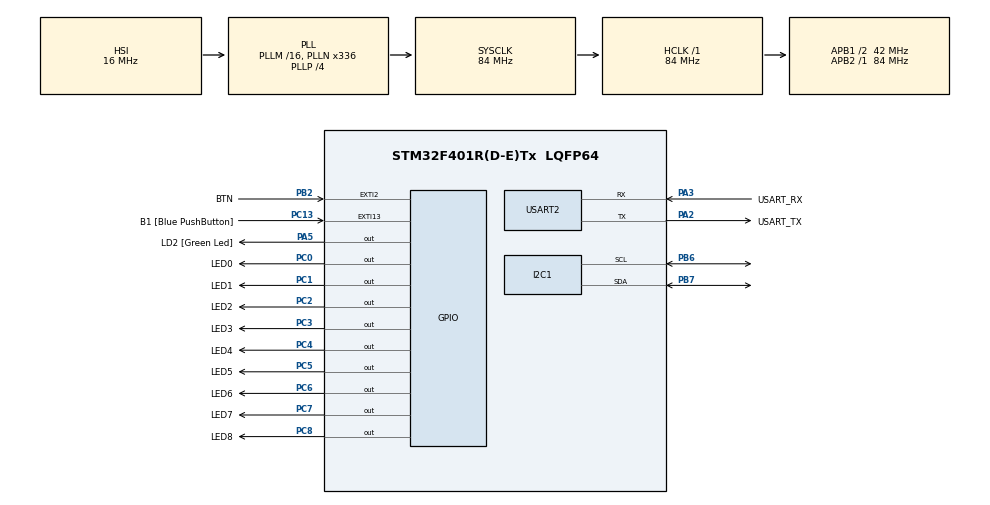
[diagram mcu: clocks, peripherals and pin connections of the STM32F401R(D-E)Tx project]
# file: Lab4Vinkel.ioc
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Mcu.Family=STM32F4
Mcu.Name=STM32F401R(D-E)Tx
Mcu.Package=LQFP64
NVIC.EXTI2_IRQn=true\:0\:0\:false\:false\:true\:true
NVIC.PriorityGroup=NVIC_PRIORITYGROUP_0
PA13.GPIO_Label=TMS
PA13.Mode=Serial_Wire
PA13.Signal=SYS_JTMS-SWDIO
PA14.GPIO_Label=TCK
PA14.Mode=Serial_Wire
PA14.Signal=SYS_JTCK-SWCLK
PA2.GPIO_Label=USART_TX
PA2.GPIO_Mode=GPIO_MODE_AF_PP
PA2.GPIO_PuPd=GPIO_NOPULL
PA2.GPIO_Speed=GPIO_SPEED_FREQ_LOW
PA2.Mode=Asynchronous
PA2.Signal=USART2_TX
PA3.GPIO_Label=USART_RX
PA3.GPIO_Mode=GPIO_MODE_AF_PP
PA3.GPIO_PuPd=GPIO_NOPULL
PA3.GPIO_Speed=GPIO_SPEED_FREQ_LOW
PA3.Mode=Asynchronous
PA3.Signal=USART2_RX
PA5.GPIO_Label=LD2 [Green Led]
PA5.GPIO_Mode=GPIO_MODE_OUTPUT_PP
PA5.GPIO_PuPd=GPIO_NOPULL
PA5.GPIO_Speed=GPIO_SPEED_FREQ_LOW
PA5.Signal=GPIO_Output
PB2.GPIO_Label=BTN
PB2.Signal=GPXTI2
PB3.GPIO_Label=SWO
PB3.Signal=SYS_JTDO-SWO
PB6.Mode=I2C
PB6.Signal=I2C1_SCL
PB7.Mode=I2C
PB7.Signal=I2C1_SDA
PC0.GPIO_Label=LED0
PC0.Signal=GPIO_Output
PC1.GPIO_Label=LED1
PC1.Signal=GPIO_Output
PC13-ANTI_TAMP.GPIO_Label=B1 [Blue PushButton]
PC13-ANTI_TAMP.GPIO_ModeDefaultEXTI=GPIO_MODE_IT_FALLING
PC13-ANTI_TAMP.GPIO_PuPd=GPIO_NOPULL
PC13-ANTI_TAMP.Signal=GPXTI13
PC14-OSC32_IN.Mode=LSE-External-Oscillator
PC14-OSC32_IN.Signal=RCC_OSC32_IN
PC15-OSC32_OUT.Mode=LSE-External-Oscillator
PC15-OSC32_OUT.Signal=RCC_OSC32_OUT
PC2.GPIO_Label=LED2
PC2.Signal=GPIO_Output
PC3.GPIO_Label=LED3
PC3.Signal=GPIO_Output
PC4.GPIO_Label=LED4
PC4.Signal=GPIO_Output
PC5.GPIO_Label=LED5
PC5.Signal=GPIO_Output
PC6.GPIO_Label=LED6
PC6.Signal=GPIO_Output
PC7.GPIO_Label=LED7
PC7.Signal=GPIO_Output
PC8.GPIO_Label=LED8
PC8.Signal=GPIO_Output
PH0\ -\ OSC_IN.Mode=HSE-External-Clock-Source
PH0\ -\ OSC_IN.Signal=RCC_OSC_IN
PH1\ -\ OSC_OUT.Mode=HSE-External-Clock-Source
PH1\ -\ OSC_OUT.Signal=RCC_OSC_OUT
ProjectManager.HeapSize=0x200
ProjectManager.StackSize=0x400
ProjectManager.TargetToolchain=TrueSTUDIO
RCC.48MHZClocksFreq_Value=48000000
RCC.AHBFreq_Value=84000000
RCC.APB1CLKDivider=RCC_HCLK_DIV2
RCC.APB1Freq_Value=42000000
RCC.APB1TimFreq_Value=84000000
RCC.APB2Freq_Value=84000000
RCC.APB2TimFreq_Value=84000000
RCC.CortexFreq_Value=84000000
RCC.HCLKFreq_Value=84000000
RCC.HSE_VALUE=8000000
RCC.HSI_VALUE=16000000
RCC.PLLN=336
RCC.PLLP=RCC_PLLP_DIV4
RCC.PLLQ=7
RCC.SYSCLKFreq_VALUE=84000000
RCC.SYSCLKSource=RCC_SYSCLKSOURCE_PLLCLK
RCC.VCOOutputFreq_Value=336000000
USART2.VirtualMode=VM_ASYNC
board=NUCLEO-F401RE

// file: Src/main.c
/**
  ******************************************************************************
  * @file           : main.c
  * @brief          : Main program body
  ******************************************************************************
  ** This notice applies to any and all portions of this file
  * that are not between comment pairs USER CODE BEGIN and
  * USER CODE END. Other portions of this file, whether
  * inserted by the user or by software development tools
  * are owned by their respective copyright owners.
  *
  * COPYRIGHT(c) 2018 STMicroelectronics
  *
  * Redistribution and use in source and binary forms, with or without modification,
  * are permitted provided that the following conditions are met:
  *   1. Redistributions of source code must retain the above copyright notice,
  *      this list of conditions and the following disclaimer.
  *   2. Redistributions in binary form must reproduce the above copyright notice,
  *      this list of conditions and the following disclaimer in the documentation
  *      and/or other materials provided with the distribution.
  *   3. Neither the name of STMicroelectronics nor the names of its contributors
  *      may be used to endorse or promote products derived from this software
  *      without specific prior written permission.
  *
  * THIS SOFTWARE IS PROVIDED BY THE COPYRIGHT HOLDERS AND CONTRIBUTORS "AS IS"
  * AND ANY EXPRESS OR IMPLIED WARRANTIES, INCLUDING, BUT NOT LIMITED TO, THE
  * IMPLIED WARRANTIES OF MERCHANTABILITY AND FITNESS FOR A PARTICULAR PURPOSE ARE
  * DISCLAIMED. IN NO EVENT SHALL THE COPYRIGHT HOLDER OR CONTRIBUTORS BE LIABLE
  * FOR ANY DIRECT, INDIRECT, INCIDENTAL, SPECIAL, EXEMPLARY, OR CONSEQUENTIAL
  * DAMAGES (INCLUDING, BUT NOT LIMITED TO, PROCUREMENT OF SUBSTITUTE GOODS OR
  * SERVICES; LOSS OF USE, DATA, OR PROFITS; OR BUSINESS INTERRUPTION) HOWEVER
  * CAUSED AND ON ANY THEORY OF LIABILITY, WHETHER IN CONTRACT, STRICT LIABILITY,
  * OR TORT (INCLUDING NEGLIGENCE OR OTHERWISE) ARISING IN ANY WAY OUT OF THE USE
  * OF THIS SOFTWARE, EVEN IF ADVISED OF THE POSSIBILITY OF SUCH DAMAGE.
  *
  ******************************************************************************
  */
#include "main.h"
#include "stm32f4xx_hal.h"
#include <math.h>

I2C_HandleTypeDef hi2c1;

UART_HandleTypeDef huart2;

/* USER CODE BEGIN PV */
/* Private variables ---------------------------------------------------------*/

#define device_adress	0x53<<1
#define init 0x2D
#define xOff 0x1E
#define yOff 0x1F
#define xData 0x32
#define yData 0x34
#define range 0x31

uint8_t data_rec[6];
uint8_t printData[40];

/* USER CODE END PV */

void SystemClock_Config(void);
static void MX_GPIO_Init(void);
static void MX_USART2_UART_Init(void);
static void MX_I2C1_Init(void);

/* USER CODE BEGIN PFP */
/* Private function prototypes -----------------------------------------------*/

void adxl_write(uint8_t reg, uint8_t value){
	uint8_t data[2];
	data[0] = reg;
	data[1] = value;
	HAL_I2C_Master_Transmit(&hi2c1, device_adress, data, 2, 10);
}

void adxl_read(uint8_t reg, uint8_t numofbytes){
	HAL_I2C_Mem_Read(&hi2c1, device_adress, reg, 1,data_rec, numofbytes, 100);
}

void adxl_init(){
	uint16_t varde;

	adxl_write(init, 8);

	adxl_read(xData, 2);
	varde = ((*data_rec)) / ((*data_rec)+1);
	adxl_write(xOff , varde);

	adxl_read(yData, 2);
	varde = ((*data_rec)) / ((*data_rec)+1);
	adxl_write(yOff , varde);

}

void adxl_reset_offset(){
	uint16_t varde;
	adxl_read(xData, 2);
	varde = ((*data_rec)) / ((*data_rec)+1);
	adxl_write(xOff , varde);

	adxl_read(yData, 2);
	varde = ((*data_rec)) / ((*data_rec)+1);
	adxl_write(yOff , varde);
}

/* USER CODE END PFP */

int main(void)
{

  /* MCU Configuration----------------------------------------------------------*/

  /* Reset of all peripherals, Initializes the Flash interface and the Systick. */
  HAL_Init();

  /* Configure the system clock */
  SystemClock_Config();

  /* Initialize all configured peripherals */
  MX_GPIO_Init();
  MX_USART2_UART_Init();
  MX_I2C1_Init();

  /* Infinite loop */
  /* USER CODE BEGIN WHILE */

  //init

  adxl_init();

  uint16_t varde;
  uint8_t offset;
  uint16_t xPoint, yPoint;
  uint8_t xRem = 0;
  uint8_t yRem = 0;
  HAL_GPIO_TogglePin(GPIOC, LED4_Pin);

  while (1)
  {

  /* USER CODE END WHILE */

  /* USER CODE BEGIN 3 */

	  adxl_read(xData, 2);
	  varde = ((*data_rec)) + ((*data_rec)+1 >> 8);

	  adxl_read(xOff, 1);
	  offset = (*data_rec);

	  xPoint = varde - offset;

	  adxl_read(yData, 2);
	  varde = ((*data_rec)) + ((*data_rec)+1 >> 8);

	  adxl_read(yOff, 1);
	  offset = (*data_rec);

	  yPoint = varde - offset;

	  double xAngle = atan( (0,75 * sin(xPoint)) / (0.75 * cos(yPoint)));
	  double yAngle = atan( (0,75 * cos(yPoint)) / (0.75 * sin(xPoint)));

	  sprintf(printData, "X: %d, Y: %d\n\r", xAngle, yAngle);
	  HAL_UART_Transmit(&huart2,printData, strlen(printData), 100);

	  xRem = xPoint;
	  yRem = yPoint;

	  HAL_Delay(200);

  }
  /* USER CODE END 3 */

}

void SystemClock_Config(void)
{

  RCC_OscInitTypeDef RCC_OscInitStruct;
  RCC_ClkInitTypeDef RCC_ClkInitStruct;

    /**Configure the main internal regulator output voltage
    */
  __HAL_RCC_PWR_CLK_ENABLE();

  __HAL_PWR_VOLTAGESCALING_CONFIG(PWR_REGULATOR_VOLTAGE_SCALE2);

    /**Initializes the CPU, AHB and APB busses clocks
    */
  RCC_OscInitStruct.OscillatorType = RCC_OSCILLATORTYPE_HSI;
  RCC_OscInitStruct.HSIState = RCC_HSI_ON;
  RCC_OscInitStruct.HSICalibrationValue = 16;
  RCC_OscInitStruct.PLL.PLLState = RCC_PLL_ON;
  RCC_OscInitStruct.PLL.PLLSource = RCC_PLLSOURCE_HSI;
  RCC_OscInitStruct.PLL.PLLM = 16;
  RCC_OscInitStruct.PLL.PLLN = 336;
  RCC_OscInitStruct.PLL.PLLP = RCC_PLLP_DIV4;
  RCC_OscInitStruct.PLL.PLLQ = 7;
  if (HAL_RCC_OscConfig(&RCC_OscInitStruct) != HAL_OK)
  {
    _Error_Handler(__FILE__, __LINE__);
  }

    /**Initializes the CPU, AHB and APB busses clocks
    */
  RCC_ClkInitStruct.ClockType = RCC_CLOCKTYPE_HCLK|RCC_CLOCKTYPE_SYSCLK
                              |RCC_CLOCKTYPE_PCLK1|RCC_CLOCKTYPE_PCLK2;
  RCC_ClkInitStruct.SYSCLKSource = RCC_SYSCLKSOURCE_PLLCLK;
  RCC_ClkInitStruct.AHBCLKDivider = RCC_SYSCLK_DIV1;
  RCC_ClkInitStruct.APB1CLKDivider = RCC_HCLK_DIV2;
  RCC_ClkInitStruct.APB2CLKDivider = RCC_HCLK_DIV1;

  if (HAL_RCC_ClockConfig(&RCC_ClkInitStruct, FLASH_LATENCY_2) != HAL_OK)
  {
    _Error_Handler(__FILE__, __LINE__);
  }

    /**Configure the Systick interrupt time
    */
  HAL_SYSTICK_Config(HAL_RCC_GetHCLKFreq()/1000);

    /**Configure the Systick
    */
  HAL_SYSTICK_CLKSourceConfig(SYSTICK_CLKSOURCE_HCLK);

  /* SysTick_IRQn interrupt configuration */
  HAL_NVIC_SetPriority(SysTick_IRQn, 0, 0);
}

/* I2C1 init function */
static void MX_I2C1_Init(void)
{

  hi2c1.Instance = I2C1;
  hi2c1.Init.ClockSpeed = 100000;
  hi2c1.Init.DutyCycle = I2C_DUTYCYCLE_2;
  hi2c1.Init.OwnAddress1 = 0;
  hi2c1.Init.AddressingMode = I2C_ADDRESSINGMODE_7BIT;
  hi2c1.Init.DualAddressMode = I2C_DUALADDRESS_DISABLE;
  hi2c1.Init.OwnAddress2 = 0;
  hi2c1.Init.GeneralCallMode = I2C_GENERALCALL_DISABLE;
  hi2c1.Init.NoStretchMode = I2C_NOSTRETCH_DISABLE;
  if (HAL_I2C_Init(&hi2c1) != HAL_OK)
  {
    _Error_Handler(__FILE__, __LINE__);
  }

}

/* USART2 init function */
static void MX_USART2_UART_Init(void)
{

  huart2.Instance = USART2;
  huart2.Init.BaudRate = 115200;
  huart2.Init.WordLength = UART_WORDLENGTH_8B;
  huart2.Init.StopBits = UART_STOPBITS_1;
  huart2.Init.Parity = UART_PARITY_NONE;
  huart2.Init.Mode = UART_MODE_TX_RX;
  huart2.Init.HwFlowCtl = UART_HWCONTROL_NONE;
  huart2.Init.OverSampling = UART_OVERSAMPLING_16;
  if (HAL_UART_Init(&huart2) != HAL_OK)
  {
    _Error_Handler(__FILE__, __LINE__);
  }

}

/** Configure pins as
        * Analog
        * Input
        * Output
        * EVENT_OUT
        * EXTI
*/
static void MX_GPIO_Init(void)
{

  GPIO_InitTypeDef GPIO_InitStruct;

  /* GPIO Ports Clock Enable */
  __HAL_RCC_GPIOC_CLK_ENABLE();
  __HAL_RCC_GPIOH_CLK_ENABLE();
  __HAL_RCC_GPIOA_CLK_ENABLE();
  __HAL_RCC_GPIOB_CLK_ENABLE();

  /*Configure GPIO pin Output Level */
  HAL_GPIO_WritePin(GPIOC, LED0_Pin|LED1_Pin|LED2_Pin|LED3_Pin
                          |LED4_Pin|LED5_Pin|LED6_Pin|LED7_Pin
                          |LED8_Pin, GPIO_PIN_RESET);

  /*Configure GPIO pin Output Level */
  HAL_GPIO_WritePin(LD2_GPIO_Port, LD2_Pin, GPIO_PIN_RESET);

  /*Configure GPIO pin : B1_Pin */
  GPIO_InitStruct.Pin = B1_Pin;
  GPIO_InitStruct.Mode = GPIO_MODE_IT_FALLING;
  GPIO_InitStruct.Pull = GPIO_NOPULL;
  HAL_GPIO_Init(B1_GPIO_Port, &GPIO_InitStruct);

  /*Configure GPIO pins : LED0_Pin LED1_Pin LED2_Pin LED3_Pin
                           LED4_Pin LED5_Pin LED6_Pin LED7_Pin
                           LED8_Pin */
  GPIO_InitStruct.Pin = LED0_Pin|LED1_Pin|LED2_Pin|LED3_Pin
                          |LED4_Pin|LED5_Pin|LED6_Pin|LED7_Pin
                          |LED8_Pin;
  GPIO_InitStruct.Mode = GPIO_MODE_OUTPUT_PP;
  GPIO_InitStruct.Pull = GPIO_NOPULL;
  GPIO_InitStruct.Speed = GPIO_SPEED_FREQ_LOW;
  HAL_GPIO_Init(GPIOC, &GPIO_InitStruct);

  /*Configure GPIO pin : LD2_Pin */
  GPIO_InitStruct.Pin = LD2_Pin;
  GPIO_InitStruct.Mode = GPIO_MODE_OUTPUT_PP;
  GPIO_InitStruct.Pull = GPIO_NOPULL;
  GPIO_InitStruct.Speed = GPIO_SPEED_FREQ_LOW;
  HAL_GPIO_Init(LD2_GPIO_Port, &GPIO_InitStruct);

  /*Configure GPIO pin : BTN_Pin */
  GPIO_InitStruct.Pin = BTN_Pin;
  GPIO_InitStruct.Mode = GPIO_MODE_IT_RISING;
  GPIO_InitStruct.Pull = GPIO_NOPULL;
  HAL_GPIO_Init(BTN_GPIO_Port, &GPIO_InitStruct);

  /* EXTI interrupt init*/
  HAL_NVIC_SetPriority(EXTI2_IRQn, 0, 0);
  HAL_NVIC_EnableIRQ(EXTI2_IRQn);

}

void _Error_Handler(char *file, int line)
{
  while(1)
  {
  }
}

/************************ (C) COPYRIGHT STMicroelectronics *****END OF FILE****/
